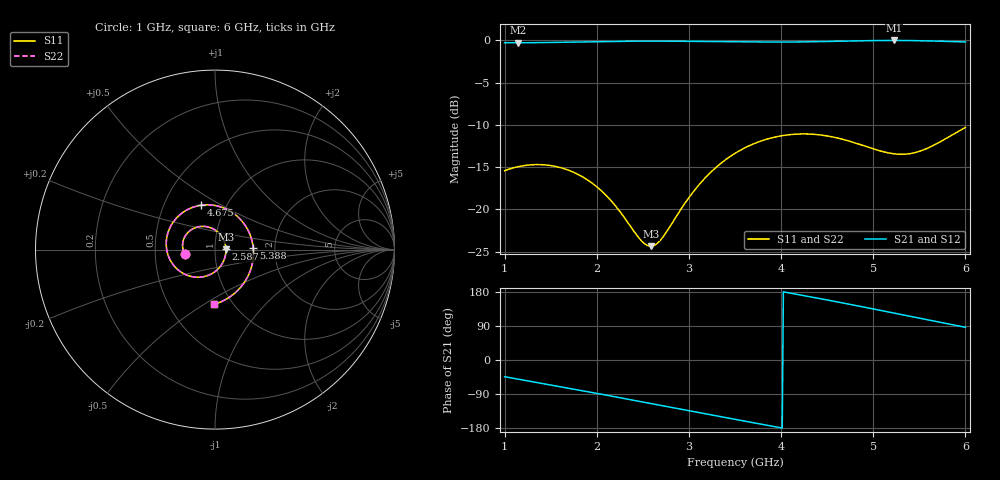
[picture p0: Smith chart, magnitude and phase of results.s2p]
! rfsim (KiCad + openEMS)
# HZ S RI R 50
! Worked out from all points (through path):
!   401 points, 1 GHz to 6 GHz, reference 50 ohm
!   highest |S21| = -0.03 dB at 5.225 GHz (marker M1); lowest = -0.3 dB at 1.15 GHz (marker M2)
!   group delay of S21, straight-line fit = 127 ps
!   lowest |S11| = -24.3 dB at 2.587 GHz (marker M3), VSWR 1.13, Z = 56.4 + j0.272 ohm
!   |S11| at or under -10 dB: start of sweep to end of sweep
!   |S22| runs from -24.3 to -10.3 dB; largest |S21 - S12| = 0.00061
!   S11 on the Smith chart (normalised r, x): 1 GHz: 0.71, -0.04; 2.587 GHz: 1.13, +0.01; 4.675 GHz: 0.76, +0.40; 5.388 GHz: 1.54, +0.02; 6 GHz: 0.82, -0.55
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1e9  -0.1677 -0.0241  0.6942 -0.6726  0.6948 -0.6725  -0.1674 -0.0243
1.15e9  -0.179 0.00519  0.6131 -0.7465  0.6132 -0.747  -0.1791 0.00501
1.5e9  -0.1624 0.0813  0.398 -0.8852  0.3981 -0.8849  -0.1623 0.0813
1.8375e9  -0.0915 0.1271  0.1575 -0.9648  0.1574 -0.965  -0.0916 0.1271
2.0375e9  -0.0364 0.1255  0.00483 -0.9824  0.0047 -0.9822  -0.0364 0.1255
2.2125e9  0.00926 0.103  -0.1323 -0.9769  -0.1321 -0.9768  0.00929 0.103
2.475e9  0.0545 0.0375  -0.3343 -0.9295  -0.3345 -0.9296  0.0544 0.0375
2.5875e9  0.0606 0.0024  -0.4167 -0.8956  -0.4169 -0.8955  0.0606 0.00241
2.675e9  0.0591 -0.0256  -0.4783 -0.864  -0.4783 -0.8638  0.0591 -0.0256
3.1125e9  -0.0255 -0.1382  -0.7427 -0.6458  -0.7429 -0.6459  -0.0255 -0.1382
3.5e9  -0.1626 -0.1399  -0.8985 -0.3887  -0.8984 -0.3887  -0.1626 -0.1399
3.95e9  -0.2688 -0.000968  -0.9738 -0.0551  -0.9737 -0.055  -0.2688 -0.00094
4.15e9  -0.2644 0.0867  -0.9719 0.0972  -0.9718 0.0971  -0.2644 0.0867
4.3375e9  -0.2245 0.1645  -0.9499 0.2399  -0.9501 0.2399  -0.2246 0.1645
4.675e9  -0.0782 0.2471  -0.8583 0.4901  -0.8581 0.4901  -0.0781 0.2471
4.925e9  0.058 0.2279  -0.7435 0.6599  -0.7437 0.6597  0.058 0.2279
5.175e9  0.1699 0.1322  -0.5905 0.8032  -0.5904 0.8035  0.17 0.1322
5.225e9  0.1853 0.1053  -0.5559 0.8277  -0.5556 0.8278  0.1853 0.1053
5.3875e9  0.2131 0.00716  -0.4356 0.8954  -0.4354 0.8951  0.2131 0.00715
5.675e9  0.1698 -0.173  -0.2049 0.9672  -0.2051 0.9676  0.1697 -0.173
5.85e9  0.0885 -0.2595  -0.0606 0.9809  -0.0601 0.981  0.0885 -0.2594
6e9  -0.00559 -0.3052  0.0619 0.9748  0.0621 0.9743  -0.00542 -0.3052
